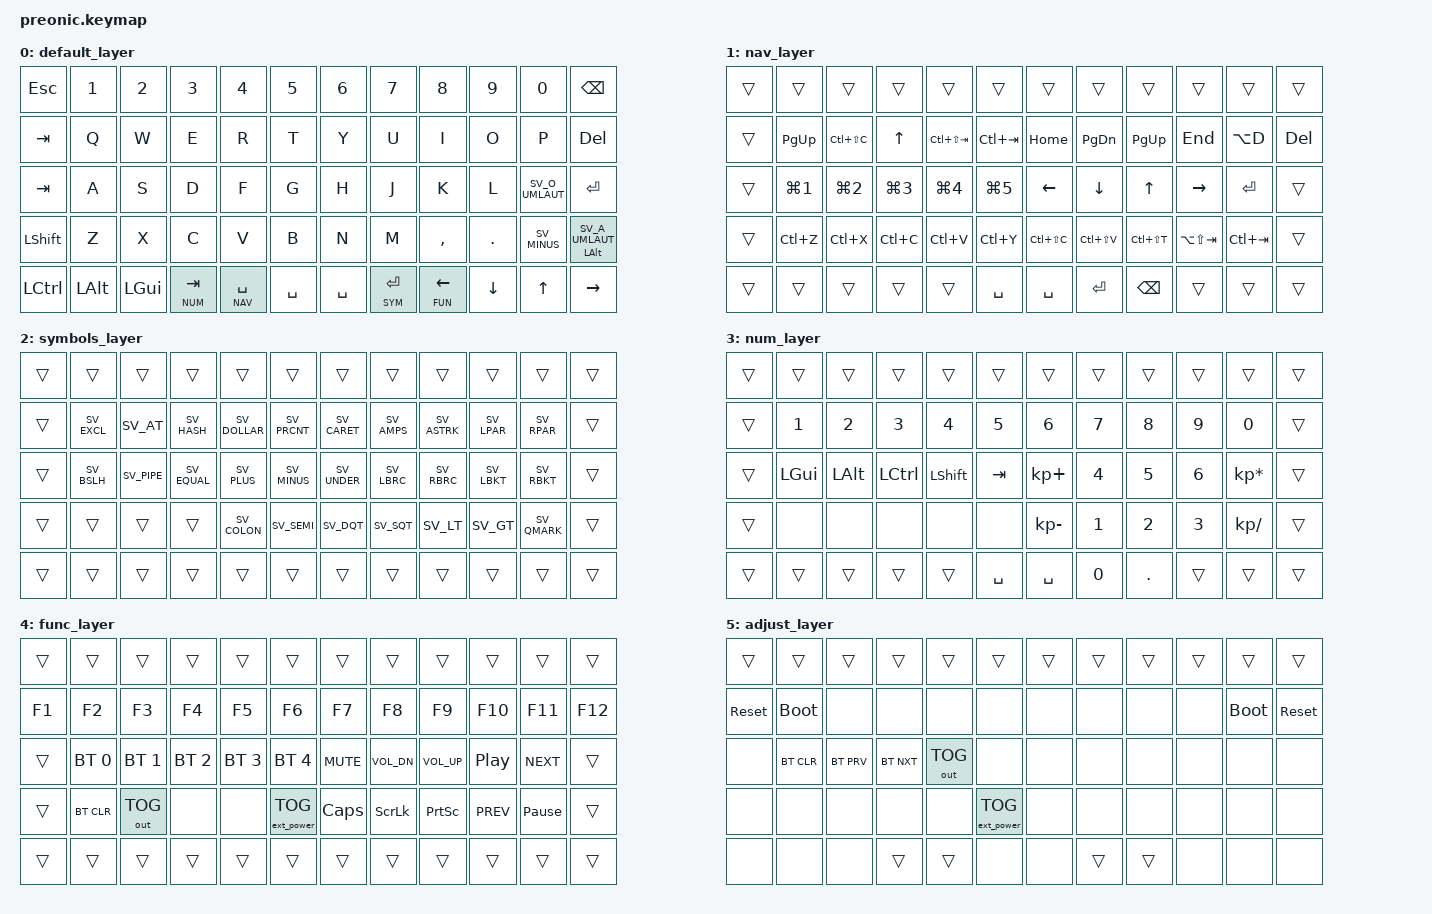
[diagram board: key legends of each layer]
/*
 * Copyright (c) 2022 The ZMK Contributors
 *
 * SPDX-License-Identifier: MIT
 */
 
/* 
 * Preonic Rev 3 - Visual Keymap Layout (Swedish Developer Layout)
 * ==============================================================
 * 
 * BASE Layer (0)
 * --------------
 * ┌─────┬─────┬─────┬─────┬─────┬─────┬─────┬─────┬─────┬─────┬─────┬─────┐
 * │ ESC │  1  │  2  │  3  │  4  │  5  │  6  │  7  │  8  │  9  │  0  │ BSPC│
 * ├─────┼─────┼─────┼─────┼─────┼─────┼─────┼─────┼─────┼─────┼─────┼─────┤
 * │ TAB │  Q  │  W  │  E  │  R  │  T  │  Y  │  U  │  I  │  O  │  P  │ DEL │
 * ├─────┼─────┼─────┼─────┼─────┼─────┼─────┼─────┼─────┼─────┼─────┼─────┤
 * │CTLTB│  GA │  AS │  CD │  SF │  G  │  H  │  SJ │  CK │  AL │  GO │ RET │
 * ├─────┼─────┼─────┼─────┼─────┼─────┼─────┼─────┼─────┼─────┼─────┼─────┤
 * │SHIFT│  Z  │  X  │  C  │  V  │  B  │  N  │  M  │  ,  │  .  │  -  │  AÄ │
 * ├─────┼─────┼─────┼─────┼─────┼─────┼─────┼─────┼─────┼─────┼─────┼─────┤
 * │LCTRL│ LALT│ LGUI│ NUM │ NAV │ SPC │ SPC │ SYM │ FUN │ DOWN│  UP │RIGHT│
 * └─────┴─────┴─────┴─────┴─────┴─────┴─────┴─────┴─────┴─────┴─────┴─────┘
 * 
 * NAV Layer (1)
 * -------------
 * ┌─────┬─────┬─────┬─────┬─────┬─────┬─────┬─────┬─────┬─────┬─────┬─────┐
 * │ --- │ --- │ --- │ --- │ --- │ --- │ --- │ --- │ --- │ --- │ --- │ --- │
 * ├─────┼─────┼─────┼─────┼─────┼─────┼─────┼─────┼─────┼─────┼─────┼─────┤
 * │ --- │PGUP │C-S-C│  UP │C-S-T│C-TAB│HOME │PGDN │PGUP │ END │ A-D │ DEL │
 * ├─────┼─────┼─────┼─────┼─────┼─────┼─────┼─────┼─────┼─────┼─────┼─────┤
 * │ --- │PGDN │LEFT │DOWN │RIGHT│A-TAB│LEFT │DOWN │ UP  │RIGHT│ RET │ --- │
 * ├─────┼─────┼─────┼─────┼─────┼─────┼─────┼─────┼─────┼─────┼─────┼─────┤
 * │ --- │ C-Z │ C-X │ C-C │ C-V │ C-Y │C-S-C│C-S-V│C-S-T│A-S-T│C-TAB│ --- │
 * ├─────┼─────┼─────┼─────┼─────┼─────┼─────┼─────┼─────┼─────┼─────┼─────┤
 * │ --- │ --- │ --- │ --- │ --- │ SPC │ SPC │ RET │ BSP │ --- │ --- │ --- │
 * └─────┴─────┴─────┴─────┴─────┴─────┴─────┴─────┴─────┴─────┴─────┴─────┘
 * 
 * SYM Layer (2)
 * -------------
 * ┌─────┬─────┬─────┬─────┬─────┬─────┬─────┬─────┬─────┬─────┬─────┬─────┐
 * │ --- │ --- │ --- │ --- │ --- │ --- │ --- │ --- │ --- │ --- │ --- │ --- │
 * ├─────┼─────┼─────┼─────┼─────┼─────┼─────┼─────┼─────┼─────┼─────┼─────┤
 * │ --- │  !  │  @  │  #  │  $  │  %  │  ^  │  &  │  *  │  (  │  )  │ --- │
 * ├─────┼─────┼─────┼─────┼─────┼─────┼─────┼─────┼─────┼─────┼─────┼─────┤
 * │ --- │  \  │  |  │  =  │  +  │  -  │  _  │  {  │  }  │  [  │  ]  │ --- │
 * ├─────┼─────┼─────┼─────┼─────┼─────┼─────┼─────┼─────┼─────┼─────┼─────┤
 * │ --- │ <-  │ ->  │ =>  │  :  │  ;  │  "  │  '  │  <  │  >  │  ?  │ --- │
 * ├─────┼─────┼─────┼─────┼─────┼─────┼─────┼─────┼─────┼─────┼─────┼─────┤
 * │ --- │ --- │ --- │ --- │ --- │ --- │ --- │ --- │ --- │ --- │ --- │ --- │
 * └─────┴─────┴─────┴─────┴─────┴─────┴─────┴─────┴─────┴─────┴─────┴─────┘
 * 
 * NUM Layer (3)
 * -------------
 * ┌─────┬─────┬─────┬─────┬─────┬─────┬─────┬─────┬─────┬─────┬─────┬─────┐
 * │ --- │ --- │ --- │ --- │ --- │ --- │ --- │ --- │ --- │ --- │ --- │ --- │
 * ├─────┼─────┼─────┼─────┼─────┼─────┼─────┼─────┼─────┼─────┼─────┼─────┤
 * │ --- │  1  │  2  │  3  │  4  │  5  │  6  │  7  │  8  │  9  │  0  │ --- │
 * ├─────┼─────┼─────┼─────┼─────┼─────┼─────┼─────┼─────┼─────┼─────┼─────┤
 * │ --- │ GUI │ ALT │CTRL │SHIFT│ TAB │  +  │  4  │  5  │  6  │  *  │ --- │
 * ├─────┼─────┼─────┼─────┼─────┼─────┼─────┼─────┼─────┼─────┼─────┼─────┤
 * │ --- │ --- │ --- │ --- │ --- │ --- │  -  │  1  │  2  │  3  │  /  │ --- │
 * ├─────┼─────┼─────┼─────┼─────┼─────┼─────┼─────┼─────┼─────┼─────┼─────┤
 * │ --- │ --- │ --- │ --- │ --- │ SPC │ SPC │  0  │  .  │ --- │ --- │ --- │
 * └─────┴─────┴─────┴─────┴─────┴─────┴─────┴─────┴─────┴─────┴─────┴─────┘
 * 
 * FUN Layer (4)
 * -------------
 * ┌─────┬─────┬─────┬─────┬─────┬─────┬─────┬─────┬─────┬─────┬─────┬─────┐
 * │ --- │ --- │ --- │ --- │ --- │ --- │ --- │ --- │ --- │ --- │ --- │ --- │
 * ├─────┼─────┼─────┼─────┼─────┼─────┼─────┼─────┼─────┼─────┼─────┼─────┤
 * │ F1  │ F2  │ F3  │ F4  │ F5  │ F6  │ F7  │ F8  │ F9  │ F10 │ F11 │ F12 │
 * ├─────┼─────┼─────┼─────┼─────┼─────┼─────┼─────┼─────┼─────┼─────┼─────┤
 * │ --- │ BT1 │ BT2 │ BT3 │ BT4 │ BT5 │MUTE │VOL- │VOL+ │PLAY │NEXT │ --- │
 * ├─────┼─────┼─────┼─────┼─────┼─────┼─────┼─────┼─────┼─────┼─────┼─────┤
 * │ --- │BTCLR│OUTG │ --- │ --- │ PWR │CAPS │SLCK │PSCR │PREV │PAUS │ --- │
 * ├─────┼─────┼─────┼─────┼─────┼─────┼─────┼─────┼─────┼─────┼─────┼─────┤
 * │ --- │ --- │ --- │ --- │ --- │ --- │ --- │ --- │ --- │ --- │ --- │ --- │
 * └─────┴─────┴─────┴─────┴─────┴─────┴─────┴─────┴─────┴─────┴─────┴─────┘
 * 
 * ADJUST Layer (5) - Activated by NAV+SYM
 * ---------------------------------------
 * ┌─────┬─────┬─────┬─────┬─────┬─────┬─────┬─────┬─────┬─────┬─────┬─────┐
 * │ --- │ --- │ --- │ --- │ --- │ --- │ --- │ --- │ --- │ --- │ --- │ --- │
 * ├─────┼─────┼─────┼─────┼─────┼─────┼─────┼─────┼─────┼─────┼─────┼─────┤
 * │RESET│BOOT │ --- │ --- │ --- │ --- │ --- │ --- │ --- │ --- │BOOT │RESET│
 * ├─────┼─────┼─────┼─────┼─────┼─────┼─────┼─────┼─────┼─────┼─────┼─────┤
 * │ --- │BTCLR│BTPRV│BTNXT│OUTG │ --- │ --- │ --- │ --- │ --- │ --- │ --- │
 * ├─────┼─────┼─────┼─────┼─────┼─────┼─────┼─────┼─────┼─────┼─────┼─────┤
 * │ --- │ --- │ --- │ --- │ --- │ PWR │ --- │ --- │ --- │ --- │ --- │ --- │
 * ├─────┼─────┼─────┼─────┼─────┼─────┼─────┼─────┼─────┼─────┼─────┼─────┤
 * │ --- │ --- │ --- │ --- │ --- │ --- │ --- │ --- │ --- │ --- │ --- │ --- │
 * └─────┴─────┴─────┴─────┴─────┴─────┴─────┴─────┴─────┴─────┴─────┴─────┘
 *
 * Legend:
 * - GA = GUI+A (hold for GUI, tap for A)
 * - AS = ALT+S (hold for ALT, tap for S)
 * - CD = CTRL+D (hold for CTRL, tap for D)
 * - SF = SHIFT+F (hold for SHIFT, tap for F)
 * - SJ = SHIFT+J (hold for SHIFT, tap for J)
 * - CK = CTRL+K (hold for CTRL, tap for K)
 * - AL = ALT+L (hold for ALT, tap for L)
 * - GO = GUI+Ö (hold for GUI, tap for Ö)
 * - AÄ = ALT+Ä (hold for ALT, tap for Ä)
 */
 
#include <behaviors.dtsi>
#include <dt-bindings/zmk/keys.h>
#include <dt-bindings/zmk/bt.h>
#include <dt-bindings/zmk/outputs.h>
#include <dt-bindings/zmk/ext_power.h>

#include "keys_sv.h"

/* Layer definitions */
#define BASE 0  // Default layer
#define NAV  1  // Navigation and editing
#define SYM  2  // Symbols
#define NUM  3  // Numbers and function keys
#define FUN  4  // Function keys and system controls
#define ADJT 5  // Adjust layer (activated by SYM+NAV)

/* Key position shorthand for combos */
// Top row
#define TL0 0   // Grave/Tilde
#define TL1 1   // 1
#define TL2 2   // 2
#define TL3 3   // 3
#define TL4 4   // 4
#define TL5 5   // 5
#define TR0 6   // 6
#define TR1 7   // 7
#define TR2 8   // 8
#define TR3 9   // 9
#define TR4 10  // 0
#define TR5 11  // Backspace

// Second row
#define SL0 12  // Tab
#define SL1 13  // Q
#define SL2 14  // W
#define SL3 15  // E
#define SL4 16  // R
#define SL5 17  // T
#define SR0 18  // Y
#define SR1 19  // U
#define SR2 20  // I
#define SR3 21  // O
#define SR4 22  // P
#define SR5 23  // Del

// Middle row
#define ML0 24  // Esc
#define ML1 25  // A
#define ML2 26  // S
#define ML3 27  // D
#define ML4 28  // F
#define ML5 29  // G
#define MR0 30  // H
#define MR1 31  // J
#define MR2 32  // K
#define MR3 33  // L
#define MR4 34  // Ö
#define MR5 35  // Ä

// Fourth row
#define FL0 36  // Shift
#define FL1 37  // Z
#define FL2 38  // X
#define FL3 39  // C
#define FL4 40  // V
#define FL5 41  // B
#define FR0 42  // N
#define FR1 43  // M
#define FR2 44  // ,
#define FR3 45  // .
#define FR4 46  // -
#define FR5 47  // Return

// Bottom row
#define BL0 48  // Ctrl
#define BL1 49  // Alt
#define BL2 50  // GUI
#define BL3 51  // Lower/NAV
#define BL4 52  // Space
#define BL5 53  // Space
#define BR0 54  // Space
#define BR1 55  // Raise/SYM
#define BR2 56  // Left
#define BR3 57  // Down
#define BR4 58  // Up
#define BR5 59  // Right

/* Behavior customizations */
&lt {
    flavor = "balanced";
    tapping-term-ms = <200>;
    quick-tap-ms = <125>;
};

&mt {
    flavor = "balanced";
    tapping-term-ms = <200>;
    quick-tap-ms = <125>;
};

/ {
  /* Conditional layers */
    conditional_layers {
        compatible = "zmk,conditional-layers";
        adjust_layer {
            if-layers = <NAV SYM>;
            then-layer = <ADJT>;
        };
    };

    keymap {
        compatible = "zmk,keymap";

        /* BASE layer */
        default_layer {
            bindings = <
                &kp ESC         &kp N1          &kp N2          &kp N3          &kp N4          &kp N5          &kp N6          &kp N7          &kp N8          &kp N9          &kp N0          &kp BSPC
                &kp TAB         &kp Q           &kp W           &kp E           &kp R           &kp T           &kp Y           &kp U           &kp I           &kp O           &kp P           &kp DEL
                &kp TAB         &kp A           &kp S           &kp D           &kp F           &kp G           &kp H           &kp J           &kp K           &kp L           &kp SV_O_UMLAUT  &kp RET
                &kp LSHFT       &kp Z           &kp X           &kp C           &kp V           &kp B           &kp N           &kp M           &kp COMMA       &kp DOT         &kp SV_MINUS    &mt LALT SV_A_UMLAUT
                &kp LCTRL       &kp LALT        &kp LGUI        &lt NUM TAB     &lt NAV SPACE   &kp SPACE       &kp SPACE       &lt SYM RET     &lt FUN LEFT    &kp DOWN        &kp UP          &kp RIGHT
            >;
            
            /*
             * BASE Layer (0) - Default typing layer with home row mods
             * --------------------------------------------------------
             * ┌─────┬─────┬─────┬─────┬─────┬─────┬─────┬─────┬─────┬─────┬─────┬─────┐
             * │ ESC │  1  │  2  │  3  │  4  │  5  │  6  │  7  │  8  │  9  │  0  │ BSPC│
             * ├─────┼─────┼─────┼─────┼─────┼─────┼─────┼─────┼─────┼─────┼─────┼─────┤
             * │ TAB │  Q  │  W  │  E  │  R  │  T  │  Y  │  U  │  I  │  O  │  P  │ DEL │
             * ├─────┼─────┼─────┼─────┼─────┼─────┼─────┼─────┼─────┼─────┼─────┼─────┤
             * │CTLTB│  GA │  AS │  CD │  SF │  G  │  H  │  SJ │  CK │  AL │  GO │ RET │
             * ├─────┼─────┼─────┼─────┼─────┼─────┼─────┼─────┼─────┼─────┼─────┼─────┤
             * │SHIFT│  Z  │  X  │  C  │  V  │  B  │  N  │  M  │  ,  │  .  │  -  │  AÄ │
             * ├─────┼─────┼─────┼─────┼─────┼─────┼─────┼─────┼─────┼─────┼─────┼─────┤
             * │LCTRL│ LALT│ LGUI│ NUM │ NAV │ SPC │ SPC │ SYM │ FUN │ DOWN│  UP │RIGHT│
             * └─────┴─────┴─────┴─────┴─────┴─────┴─────┴─────┴─────┴─────┴─────┴─────┘
             * 
             * CTLTB = Hold for CTRL, tap for TAB
             * GA = Hold for GUI, tap for A
             * AS = Hold for ALT, tap for S
             * CD = Hold for CTRL, tap for D
             * SF = Hold for SHIFT, tap for F
             * SJ = Hold for SHIFT, tap for J
             * CK = Hold for CTRL, tap for K
             * AL = Hold for ALT, tap for L
             * GO = Hold for GUI, tap for Ö
             * AÄ = Hold for ALT, tap for Ä
             * NUM = Hold for NUM layer, tap for TAB
             * NAV = Hold for NAV layer, tap for SPACE
             * SYM = Hold for SYM layer, tap for RETURN
             * FUN = Hold for FUN layer, tap for LEFT arrow
             */
        };

        /* NAV layer - Navigation and editing controls */
        nav_layer {
            bindings = <
                &trans          &trans          &trans          &trans          &trans          &trans          &trans          &trans          &trans          &trans          &trans          &trans
                &trans          &kp PG_UP       &kp LC(LS(C))   &kp UP          &kp LC(LS(TAB)) &kp LC(TAB)     &kp HOME        &kp PG_DN       &kp PG_UP       &kp END         &kp LA(D)       &kp DEL
                &trans          &kp LG(N1)      &kp LG(N2)      &kp LG(N3)      &kp LG(N4)      &kp LG(N5)      &kp LEFT        &kp DOWN        &kp UP          &kp RIGHT       &kp RET         &trans
                &trans          &kp LC(Z)       &kp LC(X)       &kp LC(C)       &kp LC(V)       &kp LC(Y)       &kp LC(LS(C))   &kp LC(LS(V))   &kp LC(LS(T))   &kp LA(LS(TAB)) &kp LC(TAB)     &trans
                &trans          &trans          &trans          &trans          &trans          &kp SPACE       &kp SPACE       &kp RET         &kp BSPC        &trans          &trans          &trans
            >;
            
            /* 
             * NAV Layer (1) - Navigation and editing controls
             * ----------------------------------------------
             * ┌─────┬─────┬─────┬─────┬─────┬─────┬─────┬─────┬─────┬─────┬─────┬─────┐
             * │ --- │ --- │ --- │ --- │ --- │ --- │ --- │ --- │ --- │ --- │ --- │ --- │
             * ├─────┼─────┼─────┼─────┼─────┼─────┼─────┼─────┼─────┼─────┼─────┼─────┤
             * │ --- │PGUP │C-S-C│  UP │C-S-T│C-TAB│HOME │PGDN │PGUP │ END │ A-D │ DEL │
             * ├─────┼─────┼─────┼─────┼─────┼─────┼─────┼─────┼─────┼─────┼─────┼─────┤
             * │ --- │PGDN │LEFT │DOWN │RIGHT│A-TAB│LEFT │DOWN │ UP  │RIGHT│ RET │ --- │
             * ├─────┼─────┼─────┼─────┼─────┼─────┼─────┼─────┼─────┼─────┼─────┼─────┤
             * │ --- │ C-Z │ C-X │ C-C │ C-V │ C-Y │C-S-C│C-S-V│C-S-T│A-S-T│C-TAB│ --- │
             * ├─────┼─────┼─────┼─────┼─────┼─────┼─────┼─────┼─────┼─────┼─────┼─────┤
             * │ --- │ --- │ --- │ --- │ --- │ SPC │ SPC │ RET │ BSP │ --- │ --- │ --- │
             * └─────┴─────┴─────┴─────┴─────┴─────┴─────┴─────┴─────┴─────┴─────┴─────┘
             * 
             * PGUP = Page Up
             * PGDN = Page Down
             * C-S-C = Ctrl+Shift+C (Copy in terminal)
             * UP = Up arrow
             * C-S-T = Ctrl+Shift+Tab (Previous tab)
             * C-TAB = Ctrl+Tab (Next tab)
             * HOME = Home key (Beginning of line)
             * END = End key (End of line)
             * A-D = Alt+D (Address bar in browsers)
             * DEL = Delete key
             * LEFT = Left arrow
             * DOWN = Down arrow
             * RIGHT = Right arrow
             * A-TAB = Alt+Tab (Switch applications)
             * RET = Return/Enter key
             * C-Z = Ctrl+Z (Undo)
             * C-X = Ctrl+X (Cut)
             * C-C = Ctrl+C (Copy in most applications)
             * C-V = Ctrl+V (Paste in most applications)
             * C-Y = Ctrl+Y (Redo)
             * C-S-V = Ctrl+Shift+V (Paste in terminal)
             * C-S-T = Ctrl+Shift+T (New tab)
             * A-S-T = Alt+Shift+Tab (Previous application)
             * SPC = Space
             * BSP = Backspace
             */
        };

        /* SYM layer - Programming symbols for easy access */
        symbols_layer {
            bindings = <
                &trans          &trans          &trans          &trans          &trans          &trans          &trans          &trans          &trans          &trans          &trans          &trans
                &trans          &kp SV_EXCL     &kp SV_AT       &kp SV_HASH     &kp SV_DOLLAR   &kp SV_PRCNT    &kp SV_CARET    &kp SV_AMPS     &kp SV_ASTRK    &kp SV_LPAR     &kp SV_RPAR     &trans
                &trans          &kp SV_BSLH     &kp SV_PIPE     &kp SV_EQUAL    &kp SV_PLUS     &kp SV_MINUS    &kp SV_UNDER    &kp SV_LBRC     &kp SV_RBRC     &kp SV_LBKT     &kp SV_RBKT     &trans
                &trans          &trans          &trans          &trans          &kp SV_COLON    &kp SV_SEMI     &kp SV_DQT      &kp SV_SQT      &kp SV_LT       &kp SV_GT       &kp SV_QMARK    &trans
                &trans          &trans          &trans          &trans          &trans          &trans          &trans          &trans          &trans          &trans          &trans          &trans
            >;
            
            /*
             * SYM Layer (2) - Symbols for programming
             * --------------------------------------
             * ┌─────┬─────┬─────┬─────┬─────┬─────┬─────┬─────┬─────┬─────┬─────┬─────┐
             * │ --- │ --- │ --- │ --- │ --- │ --- │ --- │ --- │ --- │ --- │ --- │ --- │
             * ├─────┼─────┼─────┼─────┼─────┼─────┼─────┼─────┼─────┼─────┼─────┼─────┤
             * │ --- │  !  │  @  │  #  │  $  │  %  │  ^  │  &  │  *  │  (  │  )  │ --- │
             * ├─────┼─────┼─────┼─────┼─────┼─────┼─────┼─────┼─────┼─────┼─────┼─────┤
             * │ --- │  \  │  |  │  =  │  +  │  -  │  _  │  {  │  }  │  [  │  ]  │ --- │
             * ├─────┼─────┼─────┼─────┼─────┼─────┼─────┼─────┼─────┼─────┼─────┼─────┤
             * │ --- │ <-  │ ->  │ =>  │  :  │  ;  │  "  │  '  │  <  │  >  │  ?  │ --- │
             * ├─────┼─────┼─────┼─────┼─────┼─────┼─────┼─────┼─────┼─────┼─────┼─────┤
             * │ --- │ --- │ --- │ --- │ --- │ --- │ --- │ --- │ --- │ --- │ --- │ --- │
             * └─────┴─────┴─────┴─────┴─────┴─────┴─────┴─────┴─────┴─────┴─────┴─────┘
             * 
             * Row 2: Common programming symbols
             * ! = Exclamation mark
             * @ = At symbol
             * # = Hash/pound
             * $ = Dollar sign
             * % = Percent
             * ^ = Caret
             * & = Ampersand
             * * = Asterisk
             * ( = Left parenthesis
             * ) = Right parenthesis
             * 
             * Row 3: Additional programming symbols
             * \ = Backslash
             * | = Pipe
             * = = Equals
             * + = Plus
             * - = Minus/hyphen
             * _ = Underscore
             * { = Left curly brace
             * } = Right curly brace
             * [ = Left square bracket
             * ] = Right square bracket
             * 
             * Row 4: Special programming symbols and macros
             * <- = Left arrow macro (types "<-")
             * -> = Right arrow macro (types "->")
             * => = Fat arrow macro (types "=>")
             * : = Colon
             * ; = Semicolon
             * " = Double quote
             * ' = Single quote
             * < = Less than
             * > = Greater than
             * ? = Question mark
             */
        };

        /* NUM layer - Numbers and arithmetic */
        num_layer {
            bindings = <
                &trans          &trans          &trans          &trans          &trans          &trans          &trans          &trans          &trans          &trans          &trans          &trans
                &trans          &kp N1          &kp N2          &kp N3          &kp N4          &kp N5          &kp N6          &kp N7          &kp N8          &kp N9          &kp N0          &trans
                &trans          &kp LGUI        &kp LALT        &kp LCTRL       &kp LSHFT       &kp TAB         &kp KP_PLUS     &kp N4          &kp N5          &kp N6          &kp KP_MULTIPLY &trans
                &trans          &none           &none           &none           &none           &none           &kp KP_MINUS    &kp N1          &kp N2          &kp N3          &kp KP_DIVIDE   &trans
                &trans          &trans          &trans          &trans          &trans          &kp SPACE       &kp SPACE       &kp N0          &kp DOT         &trans          &trans          &trans
            >;
            
            /*
             * NUM Layer (3) - Numbers and numeric keypad
             * -----------------------------------------
             * ┌─────┬─────┬─────┬─────┬─────┬─────┬─────┬─────┬─────┬─────┬─────┬─────┐
             * │ --- │ --- │ --- │ --- │ --- │ --- │ --- │ --- │ --- │ --- │ --- │ --- │
             * ├─────┼─────┼─────┼─────┼─────┼─────┼─────┼─────┼─────┼─────┼─────┼─────┤
             * │ --- │  1  │  2  │  3  │  4  │  5  │  6  │  7  │  8  │  9  │  0  │ --- │
             * ├─────┼─────┼─────┼─────┼─────┼─────┼─────┼─────┼─────┼─────┼─────┼─────┤
             * │ --- │ GUI │ ALT │CTRL │SHIFT│ TAB │  +  │  4  │  5  │  6  │  *  │ --- │
             * ├─────┼─────┼─────┼─────┼─────┼─────┼─────┼─────┼─────┼─────┼─────┼─────┤
             * │ --- │ --- │ --- │ --- │ --- │ --- │  -  │  1  │  2  │  3  │  /  │ --- │
             * ├─────┼─────┼─────┼─────┼─────┼─────┼─────┼─────┼─────┼─────┼─────┼─────┤
             * │ --- │ --- │ --- │ --- │ --- │ SPC │ SPC │  0  │  .  │ --- │ --- │ --- │
             * └─────┴─────┴─────┴─────┴─────┴─────┴─────┴─────┴─────┴─────┴─────┴─────┘
             * 
             * This layer provides both a sequential number row (1-0) and a numeric keypad layout:
             * 
             * Row 2: Numbers 1-0 in sequence across the row
             * 
             * Row 3-4 (right side): Numpad layout
             *   7 8 9
             *   4 5 6
             *   1 2 3
             *     0 .
             * 
             * Row 3-4 (right & middle): Mathematical operators
             * + = Plus (addition)
             * * = Asterisk (multiplication)
             * - = Minus (subtraction)
             * / = Slash (division)
             * 
             * Row 3 (left side): All modifiers for easy access
             * GUI = GUI/Super/Windows key
             * ALT = Alt key
             * CTRL = Control key
             * SHIFT = Shift key
             * TAB = Tab key
             */
        };

        /* FUN layer - Function keys and system controls */
        func_layer {
            bindings = <
                &trans          &trans          &trans          &trans          &trans          &trans          &trans          &trans          &trans          &trans          &trans          &trans
                &kp F1          &kp F2          &kp F3          &kp F4          &kp F5          &kp F6          &kp F7          &kp F8          &kp F9          &kp F10         &kp F11         &kp F12
                &trans          &bt BT_SEL 0    &bt BT_SEL 1    &bt BT_SEL 2    &bt BT_SEL 3    &bt BT_SEL 4    &kp C_MUTE      &kp C_VOL_DN    &kp C_VOL_UP    &kp C_PP        &kp C_NEXT      &trans
                &trans          &bt BT_CLR      &out OUT_TOG    &none           &none           &ext_power EP_TOG &kp CAPS      &kp SLCK        &kp PSCRN       &kp C_PREV      &kp PAUSE_BREAK &trans
                &trans          &trans          &trans          &trans          &trans          &trans          &trans          &trans          &trans          &trans          &trans          &trans
            >;
            
            /*
             * FUN Layer (4) - Function keys and system controls
             * ------------------------------------------------
             * ┌─────┬─────┬─────┬─────┬─────┬─────┬─────┬─────┬─────┬─────┬─────┬─────┐
             * │ --- │ --- │ --- │ --- │ --- │ --- │ --- │ --- │ --- │ --- │ --- │ --- │
             * ├─────┼─────┼─────┼─────┼─────┼─────┼─────┼─────┼─────┼─────┼─────┼─────┤
             * │ F1  │ F2  │ F3  │ F4  │ F5  │ F6  │ F7  │ F8  │ F9  │ F10 │ F11 │ F12 │
             * ├─────┼─────┼─────┼─────┼─────┼─────┼─────┼─────┼─────┼─────┼─────┼─────┤
             * │ --- │ BT1 │ BT2 │ BT3 │ BT4 │ BT5 │MUTE │VOL- │VOL+ │PLAY │NEXT │ --- │
             * ├─────┼─────┼─────┼─────┼─────┼─────┼─────┼─────┼─────┼─────┼─────┼─────┤
             * │ --- │BTCLR│OUTG │ --- │ --- │ PWR │CAPS │SLCK │PSCR │PREV │PAUS │ --- │
             * ├─────┼─────┼─────┼─────┼─────┼─────┼─────┼─────┼─────┼─────┼─────┼─────┤
             * │ --- │ --- │ --- │ --- │ --- │ --- │ --- │ --- │ --- │ --- │ --- │ --- │
             * └─────┴─────┴─────┴─────┴─────┴─────┴─────┴─────┴─────┴─────┴─────┴─────┘
             * 
             * Row 2: Function keys F1-F12
             * 
             * Row 3: Bluetooth and media controls
             * BT1-BT5 = Bluetooth profile selection (1-5)
             * MUTE = Volume mute toggle
             * VOL- = Volume down
             * VOL+ = Volume up
             * PLAY = Play/pause media
             * NEXT = Next track
             * 
             * Row 4: System control and special functions
             * BTCLR = Clear all Bluetooth bonds
             * OUTG = Toggle output mode (USB/Bluetooth)
             * PWR = Toggle external power
             * CAPS = Caps Lock
             * SLCK = Scroll Lock
             * PSCR = Print Screen
             * PREV = Previous track
             * PAUS = Pause/Break key
             */
        };

        /* ADJUST layer - Only accessible by holding SYM+NAV */
        adjust_layer {
            bindings = <
                &trans          &trans          &trans          &trans          &trans          &trans          &trans          &trans          &trans          &trans          &trans          &trans
                &sys_reset      &bootloader     &none           &none           &none           &none           &none           &none           &none           &none           &bootloader     &sys_reset
                &none           &bt BT_CLR      &bt BT_PRV      &bt BT_NXT      &out OUT_TOG    &none           &none           &none           &none           &none           &none           &none
                &none           &none           &none           &none           &none           &ext_power EP_TOG &none         &none           &none           &none           &none           &none
                &none           &none           &none           &trans          &trans          &none           &none           &trans          &trans          &none           &none           &none
            >;
            
            /*
             * ADJUST Layer (5) - System functions (activated by NAV+SYM)
             * ----------------------------------------------------------
             * ┌─────┬─────┬─────┬─────┬─────┬─────┬─────┬─────┬─────┬─────┬─────┬─────┐
             * │ --- │ --- │ --- │ --- │ --- │ --- │ --- │ --- │ --- │ --- │ --- │ --- │
             * ├─────┼─────┼─────┼─────┼─────┼─────┼─────┼─────┼─────┼─────┼─────┼─────┤
             * │RESET│BOOT │ --- │ --- │ --- │ --- │ --- │ --- │ --- │ --- │BOOT │RESET│
             * ├─────┼─────┼─────┼─────┼─────┼─────┼─────┼─────┼─────┼─────┼─────┼─────┤
             * │ --- │BTCLR│BTPRV│BTNXT│OUTG │ --- │ --- │ --- │ --- │ --- │ --- │ --- │
             * ├─────┼─────┼─────┼─────┼─────┼─────┼─────┼─────┼─────┼─────┼─────┼─────┤
             * │ --- │ --- │ --- │ --- │ --- │ PWR │ --- │ --- │ --- │ --- │ --- │ --- │
             * ├─────┼─────┼─────┼─────┼─────┼─────┼─────┼─────┼─────┼─────┼─────┼─────┤
             * │ --- │ --- │ --- │ --- │ --- │ --- │ --- │ --- │ --- │ --- │ --- │ --- │
             * └─────┴─────┴─────┴─────┴─────┴─────┴─────┴─────┴─────┴─────┴─────┴─────┘
             * 
             * This is a special layer that activates only when both NAV and SYM layers are active.
             * It contains system-level functions that are intentionally harder to access.
             * 
             * Row 2: System reset functions (corners)
             * RESET = System reset - reboots the keyboard
             * BOOT = Bootloader mode - for flashing new firmware
             * 
             * Row 3: Bluetooth controls
             * BTCLR = Clear all Bluetooth bonds
             * BTPRV = Select previous Bluetooth profile
             * BTNXT = Select next Bluetooth profile
             * OUTG = Toggle output mode (USB/Bluetooth)
             * 
             * Row 4: Power control
             * PWR = Toggle external power
             */
        };
    };
}; 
